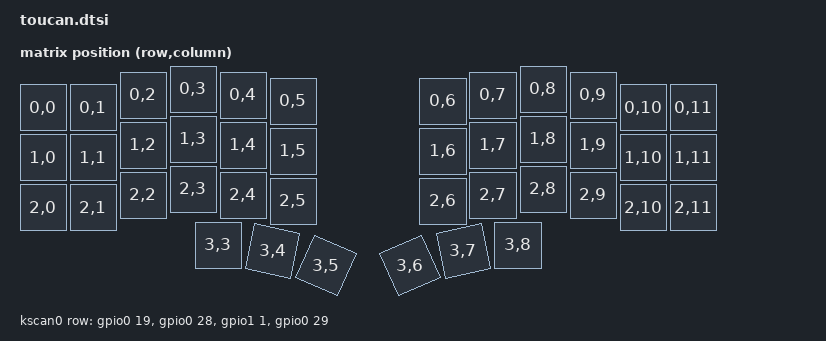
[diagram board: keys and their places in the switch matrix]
#include <input/processors.dtsi>
#include <dt-bindings/zmk/input_transform.h>
#include <dt-bindings/zmk/matrix_transform.h>
#include <zephyr/dt-bindings/input/input-event-codes.h>
#include <physical_layouts.dtsi>


/ {
    aliases {
        led-red = &led0;
        led-green = &led1;
        led-blue = &led2;
    };

    leds {
        status = "okay";
    };

    chosen {
        zmk,kscan = &kscan0;
        zmk,physical-layout = &default_layout;
        //zmk,physical-layout = &physical_layout0;
    };

    kscan0: kscan_0 {
        compatible = "zmk,kscan-gpio-matrix";
        diode-direction = "col2row";
        wakeup-source;

    row-gpios
    = <&gpio0 19 (GPIO_ACTIVE_HIGH | GPIO_PULL_DOWN)>
    , <&gpio0 28 (GPIO_ACTIVE_HIGH | GPIO_PULL_DOWN)>
    , <&gpio1 1 (GPIO_ACTIVE_HIGH | GPIO_PULL_DOWN)>
    , <&gpio0 29 (GPIO_ACTIVE_HIGH | GPIO_PULL_DOWN)>
    ;
    };

    default_layout: default_layout {
        compatible = "zmk,physical-layout";
        display-name = "Default Layout";
        transform = <&default_transform>;

        keys  //                     w   h    x    y     rot    rx    ry
            = <&key_physical_attrs 100 100    0   37       0     0     0>
            , <&key_physical_attrs 100 100  100   37       0     0     0>
            , <&key_physical_attrs 100 100  200   12       0     0     0>
            , <&key_physical_attrs 100 100  300    0       0     0     0>
            , <&key_physical_attrs 100 100  400   12       0     0     0>
            , <&key_physical_attrs 100 100  500   24       0     0     0>
            , <&key_physical_attrs 100 100  800   24       0     0     0>
            , <&key_physical_attrs 100 100  900   12       0     0     0>
            , <&key_physical_attrs 100 100 1000    0       0     0     0>
            , <&key_physical_attrs 100 100 1100   12       0     0     0>
            , <&key_physical_attrs 100 100 1200   37       0     0     0>
            , <&key_physical_attrs 100 100 1300   37       0     0     0>
            , <&key_physical_attrs 100 100    0  137       0     0     0>
            , <&key_physical_attrs 100 100  100  137       0     0     0>
            , <&key_physical_attrs 100 100  200  112       0     0     0>
            , <&key_physical_attrs 100 100  300  100       0     0     0>
            , <&key_physical_attrs 100 100  400  112       0     0     0>
            , <&key_physical_attrs 100 100  500  124       0     0     0>
            , <&key_physical_attrs 100 100  800  124       0     0     0>
            , <&key_physical_attrs 100 100  900  112       0     0     0>
            , <&key_physical_attrs 100 100 1000  100       0     0     0>
            , <&key_physical_attrs 100 100 1100  112       0     0     0>
            , <&key_physical_attrs 100 100 1200  137       0     0     0>
            , <&key_physical_attrs 100 100 1300  137       0     0     0>
            , <&key_physical_attrs 100 100    0  237       0     0     0>
            , <&key_physical_attrs 100 100  100  237       0     0     0>
            , <&key_physical_attrs 100 100  200  212       0     0     0>
            , <&key_physical_attrs 100 100  300  200       0     0     0>
            , <&key_physical_attrs 100 100  400  212       0     0     0>
            , <&key_physical_attrs 100 100  500  224       0     0     0>
            , <&key_physical_attrs 100 100  800  224       0     0     0>
            , <&key_physical_attrs 100 100  900  212       0     0     0>
            , <&key_physical_attrs 100 100 1000  200       0     0     0>
            , <&key_physical_attrs 100 100 1100  212       0     0     0>
            , <&key_physical_attrs 100 100 1200  237       0     0     0>
            , <&key_physical_attrs 100 100 1300  237       0     0     0>
            , <&key_physical_attrs 100 100  350  312       0     0     0>
            , <&key_physical_attrs 100 100  450  312    1200   450   412>
            , <&key_physical_attrs 100 100  548  328    2400   548   433>
            , <&key_physical_attrs 100 100  752  328  (-2400)  852   433>
            , <&key_physical_attrs 100 100  850  312  (-1200)  950   412>
            , <&key_physical_attrs 100 100  950  312       0     0     0>
            ;
    };

    default_transform: keymap_transform_0 {
        compatible = "zmk,matrix-transform";
        columns = <12>;
        rows = <4>;
        // | SW1  | SW2  | SW3  | SW4  | SW5  | SW6  |   | SW6  | SW5  | SW4  | SW3  | SW2  | SW1  |
        // | SW7  | SW8  | SW9  | SW10 | SW11 | SW12 |   | SW12 | SW11 | SW10 | SW9  | SW8  | SW7  |
        // | SW13 | SW14 | SW15 | SW16 | SW17 | SW18 |   | SW18 | SW17 | SW16 | SW15 | SW14 | SW13 |
        //                      | SW19 | SW20 | SW21 |   | SW21 | SW20 | SW19 |
                map = <
        RC(0,0) RC(0,1) RC(0,2) RC(0,3) RC(0,4) RC(0,5)  RC(0,6) RC(0,7) RC(0,8) RC(0,9) RC(0,10) RC(0,11)
        RC(1,0) RC(1,1) RC(1,2) RC(1,3) RC(1,4) RC(1,5)  RC(1,6) RC(1,7) RC(1,8) RC(1,9) RC(1,10) RC(1,11)
        RC(2,0) RC(2,1) RC(2,2) RC(2,3) RC(2,4) RC(2,5)  RC(2,6) RC(2,7) RC(2,8) RC(2,9) RC(2,10) RC(2,11)
                                RC(3,3) RC(3,4) RC(3,5)  RC(3,6) RC(3,7) RC(3,8)
        >;
    };
};

/ {
    /* Adjustable speed step processors - levels persist across power cycles */
    mouse_speed: mouse_speed {
        compatible = "zmk,input-processor-speed-step";
        #input-processor-cells = <0>;
        type = <INPUT_EV_REL>;
        codes = <INPUT_REL_X INPUT_REL_Y>;
        /* 1.25x  1.75x  2.50x  3.75x  5.00x */
        speed-multipliers = <125 175 250 375 500>;
        speed-divisor = <100>;
        default-level = <2>; /* 2.50x = current normal */
        settings-name = "ms";
        track-remainders;
    };

    scroll_speed: scroll_speed {
        compatible = "zmk,input-processor-speed-step";
        #input-processor-cells = <0>;
        type = <INPUT_EV_REL>;
        codes = <INPUT_REL_WHEEL INPUT_REL_HWHEEL>;
        /* 0.10x  0.20x  0.35x  0.50x  0.80x */
        speed-multipliers = <10 20 35 50 80>;
        speed-divisor = <100>;
        default-level = <1>; /* 0.20x = current normal (was 1/5) */
        settings-name = "ss";
        track-remainders;
    };

    split_inputs {
        #address-cells = <1>;
        #size-cells = <0>;

        glidepoint_split: glidepoint_split@0 {
            compatible = "zmk,input-split";
            reg = <0>;
        };
    };

    glidepoint_listener: glidepoint_listener {
        compatible = "zmk,input-listener";
        status = "disabled";
        device = <&glidepoint_split>;
        // zip_temp_layer: activate MOUSE layer (4) on trackpad touch, 2s timeout
        input-processors = <&zip_temp_layer 4 2000 &mouse_speed>;

        scroller {
            layers = <1 2>;
            input-processors = <
                &zip_xy_to_scroll_mapper
                &scroll_speed
                &zip_scroll_transform INPUT_TRANSFORM_X_INVERT
            >;
        };
    };
};

&zip_temp_layer {
    // Don't deactivate MOUSE layer when pressing mouse button keys (left home row + thumb)
    excluded-positions = <14 15 16 37>;
};
